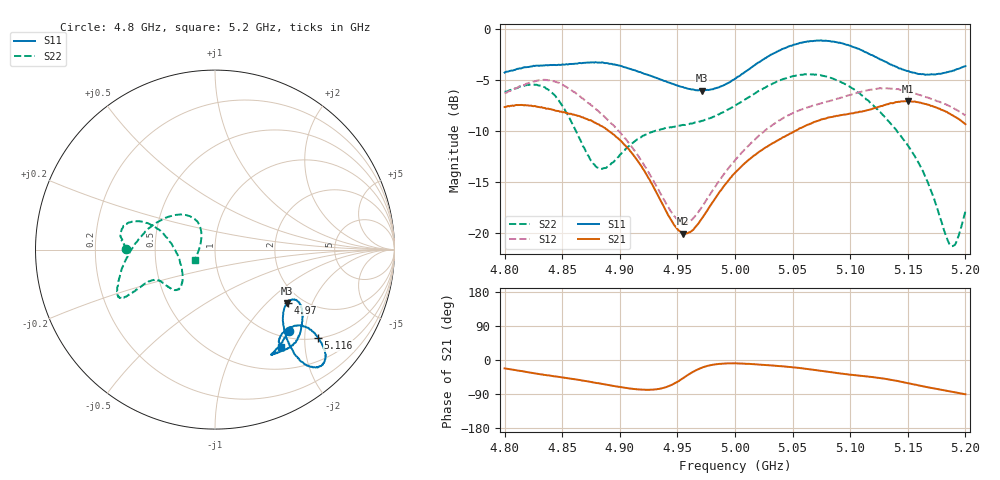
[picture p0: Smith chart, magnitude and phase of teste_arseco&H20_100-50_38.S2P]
! Network Analyzer HP8722D
! Hewlett-Packard
! Data name: Linha & Wilkinson
! Saver's name: Rodrigo Anjos
! Comments: Teste da utilização de aquisição
! continua pelo VNA HP8722D
! Time and date: 6/5/2025 12:53
!  Frequency  S11  S21  S12  S22
# HZ  S  MA R 50
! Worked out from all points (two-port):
!   401 points, 4.8 GHz to 5.2 GHz, reference 50 ohm
!   highest |S21| = -7.08 dB at 5.15 GHz (marker M1); lowest = -20.1 dB at 4.955 GHz (marker M2)
!   |S21| within 3 dB of the highest: start of sweep to 4.891 GHz; 5.051 GHz to end of sweep
!   lowest |S11| = -6.0 dB at 4.971 GHz (marker M3), VSWR 2.99, Z = 83.8 - j66.3 ohm
!   |S11| at or under -10 dB: nowhere
!   |S22| runs from -21.3 to -4.4 dB; largest |S21 - S12| = 0.95
!   S11 on the Smith chart (normalised r, x): 4.8 GHz: 1.13, -1.64; 4.97 GHz: 1.70, -1.34; 5.116 GHz: 1.01, -2.33; 5.2 GHz: 0.82, -1.57
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4.8e9  0.6114 -47.8  0.4142 -22.1  0.4835 -175.9  0.4937 179.8
4.822e9  0.6537 -58.9  0.4203 -33.1  0.547 176.3  0.5332 170.8
4.837e9  0.6633 -61.6  0.4065 -40.5  0.561 167.4  0.5078 163.0
4.851e9  0.6697 -59.8  0.391 -46.5  0.5302 158.7  0.4128 158.8
4.867e9  0.6795 -54.8  0.369 -54.0  0.4583 150.5  0.2751 166.2
4.885e9  0.6853 -48.9  0.3323 -63.2  0.3797 144.5  0.2064 -160.9
4.91e9  0.6348 -40.3  0.2482 -75.6  0.2663 137.5  0.2728 -133.5
4.934e9  0.5685 -33.1  0.1493 -76.4  0.1613 141.0  0.3201 -135.6
4.955e9  0.5187 -32.6  0.09934 -47.8  0.1118 170.5  0.3387 -144.3
4.97e9  0.5007 -36.1  0.1149 -21.8  0.1308 -163.7  0.3521 -150.3
4.971e9  0.4984 -36.6  0.1171 -20.9  0.1335 -162.4  0.3543 -150.8
5e9  0.5701 -48.0  0.1971 -9.0  0.2273 -146.9  0.4221 -154.1
5.038e9  0.782 -52.5  0.2861 -16.0  0.3556 -148.0  0.5592 -152.1
5.067e9  0.8712 -48.4  0.3459 -25.4  0.4202 -154.5  0.5991 -155.2
5.09e9  0.8558 -44.0  0.3762 -34.9  0.4563 -160.7  0.555 -163.6
5.116e9  0.7569 -40.5  0.4009 -44.0  0.5027 -172.0  0.444 175.3
5.134e9  0.675 -40.2  0.431 -51.6  0.511 177.2  0.3489 153.0
5.15e9  0.6219 -42.9  0.4428 -61.2  0.4923 168.3  0.2686 133.3
5.165e9  0.5963 -48.1  0.4286 -70.5  0.4649 161.6  0.1899 122.5
5.187e9  0.6195 -54.8  0.3825 -83.3  0.4168 153.7  0.08686 157.7
5.192e9  0.6332 -55.5  0.3683 -85.9  0.4024 151.9  0.08998 -178.7
5.2e9  0.6568 -55.8  0.3414 -90.4  0.3772 149.3  0.1276 -152.5
